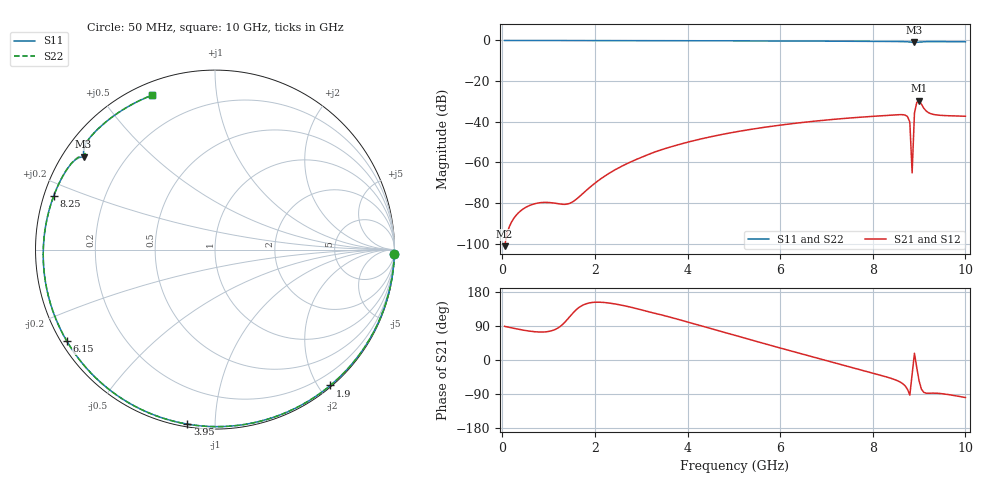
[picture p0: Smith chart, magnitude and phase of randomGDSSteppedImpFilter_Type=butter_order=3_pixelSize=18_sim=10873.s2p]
! freq	dB(S11)	phase(S11)	dB(S12)	phase(S12)
!  dB(S21)	phase(S21)	dB(S22)	phase(S22)
!S-par simulation data
#  GHz  S  DB  R 50
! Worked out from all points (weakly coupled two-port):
!   200 points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, 50 MHz to 10 GHz, reference 50 ohm
!   highest |S21| = -29.61 dB at 9 GHz (marker M1); lowest = -101.2 dB at 50 MHz (marker M2)
!   lowest |S11| = -0.9 dB at 8.9 GHz (marker M3), VSWR 18.35, Z = 3 + j15.8 ohm
!   |S11| at or under -10 dB: nowhere
!   |S22| runs from -1.0 to 0.0 dB; largest |S21 - S12| = 0
!   S11 on the Smith chart (normalised r, x): 50 MHz: 0, -85; 1.9 GHz: 0.02, -2.16; 3.95 GHz: 0.01, -0.85; 6.15 GHz: 0.02, -0.28; 8.25 GHz: 0.03, +0.16; 10 GHz: 0.05, +0.67
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0.05  -0.00 -1.4  -101.18 88.9  -101.18 88.9  -0.00 -1.4
1.45  -0.05 -38.2  -80.16 113.4  -80.16 113.4  -0.05 -38.2
1.75  -0.06 -45.9  -75.06 145.4  -75.06 145.4  -0.06 -45.9
1.9  -0.06 -49.7  -72.05 151.0  -72.05 151.0  -0.06 -49.7
2.55  -0.08 -65.8  -62.21 145.3  -62.21 145.3  -0.08 -65.8
3.4  -0.11 -86.2  -54.02 120.2  -54.02 120.2  -0.11 -86.2
3.95  -0.13 -99.0  -50.35 102.0  -50.35 102.0  -0.13 -99.0
5.05  -0.19 -123.8  -44.93 64.0  -44.93 64.0  -0.19 -123.9
6.15  -0.26 -148.4  -41.22 26.6  -41.22 26.6  -0.26 -148.4
6.7  -0.31 -160.9  -39.80 8.3  -39.80 8.3  -0.31 -160.9
7.5  -0.38 -179.6  -38.14 -18.0  -38.14 -18.0  -0.38 -179.7
8.25  -0.47 161.5  -36.96 -43.0  -36.96 -43.0  -0.47 161.5
8.35  -0.49 158.8  -36.81 -46.6  -36.81 -46.6  -0.49 158.8
8.7  -0.61 148.9  -36.73 -68.5  -36.73 -68.5  -0.60 148.9
8.8  -0.77 146.0  -40.13 -92.5  -40.13 -92.5  -0.73 145.9
8.85  -0.90 145.1  -65.12 -37.4  -65.12 -37.4  -0.86 144.8
8.9  -0.95 144.8  -35.77 17.9  -35.77 17.9  -0.93 144.2
8.95  -0.92 144.2  -30.43 -19.9  -30.43 -19.9  -0.96 143.8
9  -0.82 143.6  -29.61 -55.2  -29.61 -55.2  -0.88 143.5
9.15  -0.58 138.8  -34.61 -87.5  -34.61 -87.5  -0.59 138.9
9.25  -0.57 135.6  -36.00 -87.6  -36.00 -87.6  -0.57 135.6
10  -0.64 112.2  -37.28 -99.1  -37.28 -99.1  -0.64 112.2
